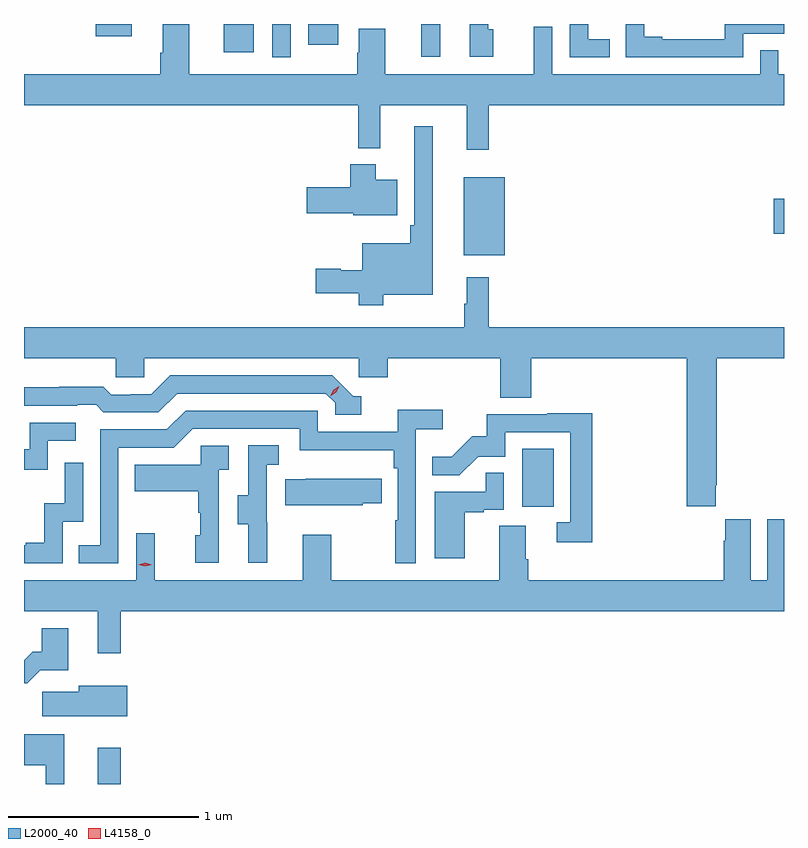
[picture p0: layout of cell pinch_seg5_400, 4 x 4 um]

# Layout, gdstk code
import gdstk
lib = gdstk.Library(unit=1e-6, precision=1e-09)
def R(c, l, rs):  # rectangles x0, y0, x1, y1
    for r in rs: c.add(gdstk.rectangle(r[:2], r[2:], *l))
def P(c, l, *ps):  # polygons
    for p in ps: c.add(gdstk.Polygon(p, *l))
L2000_40 = (2000, 40)
L4158_0 = (4158, 0)

pinch_seg5_400 = lib.new_cell('pinch_seg5_400')
R(pinch_seg5_400, L2000_40, [(951.449,869.172,951.571,869.362), (953.684,870.63,953.848,870.937), (953.375,871.955,953.59,872.365), (955.008,872.069,955.061,872.252), (952.368,872.997,952.464,873.172), (953.153,873,953.251,873.172), (952.112,873.024,952.27,873.172), (952.556,873.063,952.714,873.172), (951.439,873.108,951.628,873.172)])
P(pinch_seg5_400, L2000_40, [(953.507,872.744),(955.061,872.744),(955.061,872.908),(955.032,872.908),(955.032,873.035),(954.936,873.035),(954.936,872.908),(953.841,872.908),(953.841,873.157),(953.744,873.157),(953.744,872.908),(952.963,872.908),(952.963,873.148),(952.823,873.148),(952.823,873.02),(952.816,873.02),(952.816,872.908),(951.931,872.908),(951.931,873.172),(951.791,873.172),(951.791,873.02),(951.779,873.02),(951.779,872.908),(951.061,872.908),(951.061,872.744),(952.819,872.744),(952.819,872.519),(952.937,872.519),(952.937,872.744),(953.39,872.744),(953.39,872.511),(953.507,872.511)],
  [(954.143,873.093),(954.03,873.093),(954.03,873.172),(953.934,873.172),(953.934,872.997),(954.143,872.997)],
  [(953.53,873.144),(953.505,873.144),(953.505,873.172),(953.406,873.172),(953.406,873),(953.53,873)],
  [(954.846,873.12),(955.061,873.12),(955.061,873.172),(954.75,873.172),(954.75,873.093),(954.421,873.093),(954.421,873.106),(954.326,873.106),(954.326,873.172),(954.228,873.172),(954.228,872.997),(954.846,872.997)],
  [(952.951,871.748),(953.212,871.748),(953.212,872.635),(953.115,872.635),(953.115,872.113),(953.095,872.113),(953.095,872.017),(952.841,872.017),(952.841,871.876),(952.727,871.876),(952.727,871.884),(952.596,871.884),(952.596,871.754),(952.822,871.754),(952.822,871.691),(952.951,871.691)],
  [(953.026,872.353),(952.912,872.353),(952.912,872.434),(952.778,872.434),(952.778,872.313),(952.548,872.313),(952.548,872.176),(952.794,872.176),(952.794,872.165),(953.026,872.165)],
  [(954.701,870.745),(954.708,870.745),(954.708,871.412),(955.061,871.412),(955.061,871.576),(953.507,871.576),(953.507,871.84),(953.39,871.84),(953.39,871.7),(953.379,871.7),(953.379,871.576),(951.061,871.576),(951.061,871.412),(951.543,871.412),(951.543,871.314),(951.693,871.314),(951.693,871.412),(952.824,871.412),(952.824,871.314),(952.976,871.314),(952.976,871.412),(953.567,871.412),(953.567,871.204),(953.732,871.204),(953.732,871.412),(954.548,871.412),(954.548,870.633),(954.701,870.633)],
  [(952.837,871.212),(952.794,871.212),(952.683,871.323),(951.83,871.323),(951.731,871.224),(951.624,871.224),(951.624,871.221),(951.521,871.221),(951.479,871.264),(951.246,871.264),(951.246,871.261),(951.061,871.261),(951.061,871.164),(951.341,871.164),(951.341,871.167),(951.44,871.167),(951.479,871.128),(951.768,871.128),(951.867,871.227),(952.65,871.227),(952.698,871.179),(952.698,871.116),(952.837,871.116)],
  [(951.558,870.942),(951.849,870.942),(951.948,871.041),(952.512,871.041),(952.512,870.929),(953.008,870.929),(953.008,870.833),(953.028,870.833),(953.028,870.56),(953.016,870.56),(953.016,870.333),(953.124,870.333),(953.124,871.04),(953.266,871.04),(953.266,871.142),(953.027,871.142),(953.027,871.026),(952.608,871.026),(952.608,871.137),(951.911,871.137),(951.812,871.038),(951.462,871.038),(951.462,870.429),(951.349,870.429),(951.349,870.333),(951.558,870.333)],
  [(954.053,871.124),(953.815,871.124),(953.815,871.119),(953.497,871.119),(953.497,871.002),(953.42,871.002),(953.313,870.895),(953.209,870.895),(953.209,870.796),(953.353,870.796),(953.451,870.894),(953.595,870.894),(953.595,871.023),(953.937,871.023),(953.937,870.549),(953.865,870.549),(953.865,870.444),(954.053,870.444)],
  [(951.186,870.978),(951.334,870.978),(951.334,871.074),(951.09,871.074),(951.09,870.933),(951.061,870.933),(951.061,870.825),(951.186,870.825)],
  [(952.34,870.549),(952.338,870.549),(952.338,870.853),(952.402,870.853),(952.402,870.956),(952.242,870.956),(952.242,870.693),(952.187,870.693),(952.187,870.538),(952.241,870.538),(952.241,870.336),(952.34,870.336)],
  [(952.086,870.827),(952.138,870.827),(952.138,870.951),(951.99,870.951),(951.99,870.853),(951.643,870.853),(951.643,870.713),(951.978,870.713),(951.978,870.599),(951.988,870.599),(951.988,870.48),(951.962,870.48),(951.962,870.336),(952.086,870.336)],
  [(951.264,870.552),(951.372,870.552),(951.372,870.862),(951.276,870.862),(951.276,870.65),(951.167,870.65),(951.167,870.442),(951.071,870.442),(951.071,870.429),(951.061,870.429),(951.061,870.333),(951.264,870.333)],
  [(953.38,870.603),(953.48,870.603),(953.48,870.615),(953.586,870.615),(953.586,870.809),(953.491,870.809),(953.491,870.711),(953.222,870.711),(953.222,870.36),(953.38,870.36)],
  [(952.845,870.649),(952.943,870.649),(952.943,870.778),(952.543,870.778),(952.543,870.775),(952.435,870.775),(952.435,870.638),(952.845,870.638)],
  [(951.571,870.08),(955.061,870.08),(955.061,870.565),(954.974,870.565),(954.974,870.244),(954.886,870.244),(954.886,870.565),(954.752,870.565),(954.752,870.452),(954.743,870.452),(954.743,870.244),(953.714,870.244),(953.714,870.356),(953.701,870.356),(953.701,870.53),(953.561,870.53),(953.561,870.244),(952.677,870.244),(952.677,870.484),(952.529,870.484),(952.529,870.244),(951.749,870.244),(951.749,870.493),(951.651,870.493),(951.651,870.244),(951.061,870.244),(951.061,870.08),(951.449,870.08),(951.449,869.859),(951.571,869.859)],
  [(951.146,869.771),(951.295,869.771),(951.295,869.992),(951.155,869.992),(951.155,869.869),(951.106,869.869),(951.061,869.824),(951.061,869.702),(951.077,869.702)],
  [(951.604,869.689),(951.35,869.689),(951.35,869.657),(951.156,869.657),(951.156,869.528),(951.604,869.528)],
  [(951.274,869.434),(951.061,869.434),(951.061,869.27),(951.176,869.27),(951.176,869.172),(951.274,869.172)])
P(pinch_seg5_400, L4158_0, [(951.698,870.317),(951.663,870.327),(951.662,870.327),(951.663,870.327),(951.698,870.337),(951.733,870.327),(951.734,870.327),(951.733,870.327)],
  [(952.673,871.214),(952.673,871.214),(952.69,871.246),(952.721,871.265),(952.721,871.265),(952.721,871.265),(952.704,871.233),(952.673,871.214)])

lib.write_gds('pinch_seg5_400.gds')
